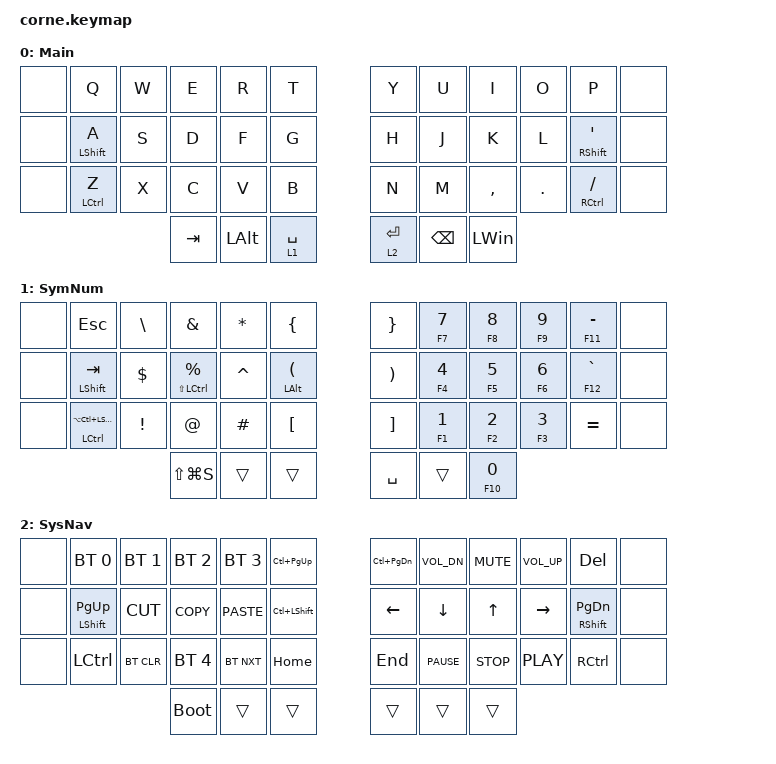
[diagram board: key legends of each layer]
#include <behaviors.dtsi>
#include <dt-bindings/zmk/bt.h>
#include <dt-bindings/zmk/keys.h>

// Layers

#define MAC 4
#define MAC_CODE 5
#define MAC_NUM 6
#define MAC_FUNC 7
#define WIN 0
#define WIN_CODE 1
#define WIN_NUM 2
#define WIN_FUNC 3

// Behavior Overrides

&lt { tapping-term-ms = <200>; };

/ {
    //combos {
    //  compatible = "zmk,combos";
    //combo_tab {
    //  timeout-ms = <20>;
    //  key-positions = <1 2>;
    //  bindings = <&kp TAB>;
    //};
    //  combo_enter {
    //    timeout-ms = <20>;
    //  key-positions = <13 14>;
    //bindings = <&kp ENTER>;
    //};
    //};

    macros {
        spotlight: spotlight {
            label = "spotlight";
            compatible = "zmk,behavior-macro";
            #binding-cells = <0>;
            bindings =
                <&macro_press>,
                <&kp LGUI>,
                <&macro_tap>,
                <&kp SPACE>,
                <&macro_release>,
                <&kp LGUI>;
        };

        // Emoji

        mac_emoji: mac_emoji {
            label = "mac_emoji";
            compatible = "zmk,behavior-macro";
            #binding-cells = <0>;
            bindings =
                <&macro_press>,
                <&kp LGUI>,
                <&macro_press>,
                <&kp LCTRL>,
                <&macro_tap>,
                <&kp SPACE>,
                <&macro_release>,
                <&kp LCTRL>,
                <&macro_release>,
                <&kp LGUI>;
        };

        win_emoji: win_emoji {
            label = "win_emoji";
            compatible = "zmk,behavior-macro";
            #binding-cells = <0>;
            bindings =
                <&macro_press>,
                <&kp LGUI>,
                <&macro_tap>,
                <&kp DOT>,
                <&macro_release>,
                <&kp LGUI>;
        };
    };

    behaviors {
        td_multi_mac: tap_dance_multi_mac {
            compatible = "zmk,behavior-tap-dance";
            label = "TAP_DANCE_MULTI_MAC";
            #binding-cells = <0>;
            tapping-term-ms = <200>;
            bindings = <&kp ESC>, <&spotlight>, <&mac_emoji>;
        };

        td_multi_windows: tap_dance_multi_windows {
            compatible = "zmk,behavior-tap-dance";
            label = "TAP_DANCE_MULTI_WINDOWS";
            #binding-cells = <0>;
            tapping-term-ms = <200>;
            bindings = <&kp ESC>, <&kp LGUI>, <&win_emoji>;
        };

        bm: bottom_row_mods {
            compatible = "zmk,behavior-hold-tap";
            label = "BOTTOM_ROW_MODS";
            #binding-cells = <2>;
            tapping-term-ms = <200>;
            flavor = "balanced";
            bindings = <&kp>, <&kp>;

            quick-tap-ms = <100>;
        };

        cm: code_row_mods {
            compatible = "zmk,behavior-hold-tap";
            label = "CODE_ROW_MODS";
            #binding-cells = <2>;
            tapping-term-ms = <150>;
            flavor = "balanced";
            bindings = <&kp>, <&kp>;
        };

        sm: space_mod {
            compatible = "zmk,behavior-hold-tap";
            label = "SPACE_MOD";
            #binding-cells = <2>;
            flavor = "balanced";
            tapping-term-ms = <200>;
            quick-tap-ms = <125>;
            bindings = <&kp>, <&kp>;
        };
    };

    combos {
        compatible = "zmk,combos";

        semicolon {
            bindings = <&kp SEMI>;
            key-positions = <33 32>;
            layers = <0>;
        };

        caps_word {
            bindings = <&caps_word>;
            key-positions = <13 22>;
            layers = <0>;
        };
    };

    keymap {
        compatible = "zmk,keymap";

        Default {
            label = "Main";
            bindings = <
&none  &kp Q             &kp W  &kp E    &kp R         &kp T          &kp Y        &kp U          &kp I         &kp O    &kp P                 &none
&none  &cm LEFT_SHIFT A  &kp S  &kp D    &kp F         &kp G          &kp H        &kp J          &kp K         &kp L    &cm RIGHT_SHIFT APOS  &none
&none  &cm LCTRL Z       &kp X  &kp C    &kp V         &kp B          &kp N        &kp M          &kp COMMA     &kp DOT  &cm RCTRL FSLH        &none
                                &kp TAB  &kp LEFT_ALT  &lt 1 SPACE    &lt 2 ENTER  &kp BACKSPACE  &kp LEFT_WIN
            >;
        };

        Symbols-Numbers {
            label = "SymNum";
            bindings = <
&none  &kp ESC                       &kp BACKSLASH  &kp AMPS             &kp ASTRK  &kp LBRC             &kp RBRC   &cm F7 NUMBER_7  &cm F8 NUMBER_8   &cm F9 NUMBER_9  &cm F11 MINUS  &none
&none  &cm LEFT_SHIFT TAB            &kp DLLR       &cm LS(LCTRL) PRCNT  &kp CARET  &cm LEFT_ALT LPAR    &kp RPAR   &cm F4 NUMBER_4  &cm F5 NUMBER_5   &cm F6 NUMBER_6  &cm F12 GRAVE  &none
&none  &cm LCTRL LA(LC(LEFT_SHIFT))  &kp EXCL       &kp AT               &kp HASH   &kp LBKT             &kp RBKT   &cm F1 NUMBER_1  &cm F2 NUMBER_2   &cm F3 NUMBER_3  &kp EQUAL      &none
                                                    &kp LS(LG(S))        &trans     &trans               &kp SPACE  &trans           &cm F10 NUMBER_0
            >;
        };

        Systems-Navigation {
            label = "SysNav";
            bindings = <
&none  &bt BT_SEL 0            &bt BT_SEL 1  &bt BT_SEL 2  &bt BT_SEL 3  &kp LC(PAGE_UP)       &kp LC(PAGE_DOWN)  &kp C_VOL_DN  &kp K_MUTE  &kp C_VOL_UP  &kp DEL                    &none
&none  &cm LEFT_SHIFT PAGE_UP  &kp K_CUT     &kp K_COPY    &kp K_PASTE   &kp LC(LEFT_SHIFT)    &kp LEFT           &kp DOWN      &kp UP      &kp RIGHT     &cm RIGHT_SHIFT PAGE_DOWN  &none
&none  &kp LCTRL               &bt BT_CLR    &bt BT_SEL 4  &bt BT_NXT    &kp HOME              &kp END            &kp C_PAUSE   &kp C_STOP  &kp C_PLAY    &kp RCTRL                  &none
                                             &bootloader   &trans        &trans                &trans             &trans        &trans
            >;
        };
    };
};
